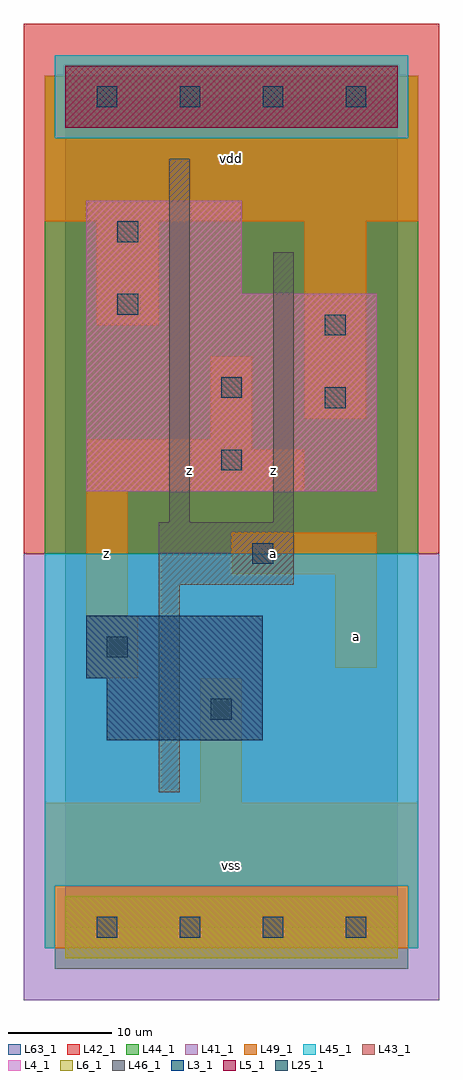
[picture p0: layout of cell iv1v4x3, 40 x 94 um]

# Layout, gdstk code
import gdstk
lib = gdstk.Library(unit=1e-6, precision=1e-09)
def R(c, l, rs):  # rectangles x0, y0, x1, y1
    for r in rs: c.add(gdstk.rectangle(r[:2], r[2:], *l))
def A(c, l, x, y, w, h, nx, ny, dx, dy):  # array of equal rectangles
    R(c, l, [(x+i*dx, y+j*dy, x+i*dx+w, y+j*dy+h) for i in range(nx) for j in range(ny)])
L3_1 = (3, 1)
L4_1 = (4, 1)
L5_1 = (5, 1)
L6_1 = (6, 1)
L25_1 = (25, 1)
L41_1 = (41, 1)
L42_1 = (42, 1)
L43_1 = (43, 1)
L44_1 = (44, 1)
L45_1 = (45, 1)
L46_1 = (46, 1)
L49_1 = (49, 1)
L63_1 = (63, 1)

iv1v4x3 = lib.new_cell('iv1v4x3')
R(iv1v4x3, L3_1, [(4,18,19,24), (2,24,19,30)])
R(iv1v4x3, L4_1, [(2,42,30,61), (2,61,17,70)])
R(iv1v4x3, L5_1, [(0,77,32,83)])
R(iv1v4x3, L6_1, [(0,-3,32,3), (0,-3,32,3)])
A(iv1v4x3, L25_1, 3, -1, 2, 2, 4, 2, 8, 80)
R(iv1v4x3, L25_1, [(14,20,16,22), (4,26,6,28), (18,35,20,37), (15,44,17,46), (25,50,27,52), (15,51,17,53), (25,57,27,59), (5,59,7,61), (5,66,7,68)])
R(iv1v4x3, L41_1, [(-4,-7,36,36)])
R(iv1v4x3, L42_1, [(-4,36,36,87)])
R(iv1v4x3, L43_1, [(0,-3,32,3), (4,18,19,24), (2,24,19,30), (2,42,30,61), (2,61,17,70), (0,77,32,83)])
R(iv1v4x3, L44_1, [(-1,-4,33,4), (-2,36,34,76), (-2,76,-1,82), (33,76,34,82)])
R(iv1v4x3, L45_1, [(-2,-2,-1,4), (33,-2,34,4), (-2,4,34,36), (-1,76,33,84)])
R(iv1v4x3, L46_1, [(9,13,11,33), (9,33,22,39), (10,39,12,74), (20,39,22,65)])
R(iv1v4x3, L49_1, [(-2,-2,34,12), (13,12,17,24), (2,24,7,30), (26,25,30,34), (2,30,6,42), (16,34,30,38), (2,42,23,46), (2,46,18,47), (14,47,18,55), (23,49,29,68), (3,58,9,68), (-2,68,34,82)])
R(iv1v4x3, L63_1, [(0,0,32,80)])
iv1v4x3.add(gdstk.Label('z', (4,36), layer=49, texttype=1))
iv1v4x3.add(gdstk.Label('z', (12,44), layer=49, texttype=1))
iv1v4x3.add(gdstk.Label('vss', (16,6), layer=49, texttype=1))
iv1v4x3.add(gdstk.Label('a', (20,36), layer=49, texttype=1))
iv1v4x3.add(gdstk.Label('z', (20,44), layer=49, texttype=1))
iv1v4x3.add(gdstk.Label('vdd', (16,74), layer=49, texttype=1))
iv1v4x3.add(gdstk.Label('a', (28,28), layer=49, texttype=1))

lib.write_gds('iv1v4x3.gds')
